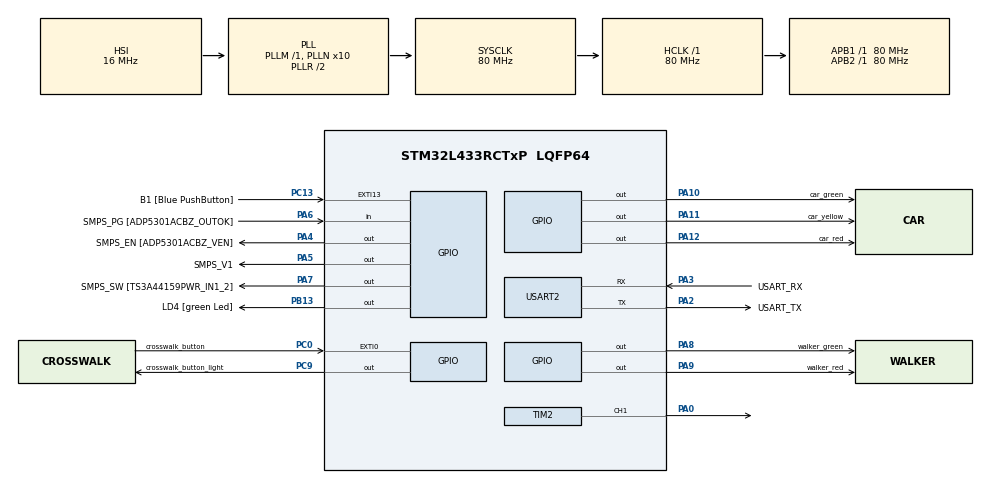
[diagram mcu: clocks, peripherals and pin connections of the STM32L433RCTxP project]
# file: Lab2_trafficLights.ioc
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Mcu.Family=STM32L4
Mcu.Name=STM32L433RCTxP
Mcu.Package=LQFP64
NVIC.EXTI0_IRQn=true\:0\:0\:false\:false\:true\:true\:true\:true
NVIC.EXTI15_10_IRQn=true\:0\:0\:false\:false\:true\:true\:true\:true
NVIC.PriorityGroup=NVIC_PRIORITYGROUP_4
PA0.Signal=S_TIM2_CH1
PA10.GPIO_Label=car_green
PA10.Signal=GPIO_Output
PA11.GPIO_Label=car_yellow
PA11.Signal=GPIO_Output
PA12.GPIO_Label=car_red
PA12.Signal=GPIO_Output
PA13\ (JTMS-SWDIO).GPIO_Label=TMS
PA13\ (JTMS-SWDIO).Mode=Serial_Wire
PA13\ (JTMS-SWDIO).Signal=SYS_JTMS-SWDIO
PA14\ (JTCK-SWCLK).GPIO_Label=TCK
PA14\ (JTCK-SWCLK).Mode=Serial_Wire
PA14\ (JTCK-SWCLK).Signal=SYS_JTCK-SWCLK
PA2.GPIO_Label=USART_TX
PA2.GPIO_Mode=GPIO_MODE_AF_PP
PA2.GPIO_PuPd=GPIO_NOPULL
PA2.GPIO_Speed=GPIO_SPEED_FREQ_VERY_HIGH
PA2.Mode=Asynchronous
PA2.Signal=USART2_TX
PA3.GPIO_Label=USART_RX
PA3.GPIO_Mode=GPIO_MODE_AF_PP
PA3.GPIO_PuPd=GPIO_NOPULL
PA3.GPIO_Speed=GPIO_SPEED_FREQ_VERY_HIGH
PA3.Mode=Asynchronous
PA3.Signal=USART2_RX
PA4.GPIO_Label=SMPS_EN [ADP5301ACBZ_VEN]
PA4.Signal=GPIO_Output
PA5.GPIO_Label=SMPS_V1
PA5.GPIO_ModeDefaultOutputPP=GPIO_MODE_OUTPUT_PP
PA5.GPIO_PuPd=GPIO_NOPULL
PA5.GPIO_Speed=GPIO_SPEED_FREQ_LOW
PA5.Signal=GPIO_Output
PA6.GPIO_Label=SMPS_PG [ADP5301ACBZ_OUTOK]
PA6.GPIO_PuPd=GPIO_PULLUP
PA6.Signal=GPIO_Input
PA7.GPIO_Label=SMPS_SW [TS3A44159PWR_IN1_2]
PA7.Signal=GPIO_Output
PA8.GPIO_Label=walker_green
PA8.Signal=GPIO_Output
PA9.GPIO_Label=walker_red
PA9.Signal=GPIO_Output
PB13.GPIO_Label=LD4 [green Led]
PB13.Signal=GPIO_Output
PB3\ (JTDO-TRACESWO).GPIO_Label=SWO
PB3\ (JTDO-TRACESWO).Signal=SYS_JTDO-SWO
PC0.GPIO_Label=crosswalk_button
PC0.GPIO_ModeDefaultEXTI=GPIO_MODE_IT_RISING
PC0.Signal=GPXTI0
PC13.GPIO_Label=B1 [Blue PushButton]
PC13.GPIO_ModeDefaultEXTI=GPIO_MODE_IT_FALLING
PC13.GPIO_PuPd=GPIO_NOPULL
PC13.Signal=GPXTI13
PC14-OSC32_IN\ (PC14).Mode=LSE-External-Oscillator
PC14-OSC32_IN\ (PC14).Signal=RCC_OSC32_IN
PC15-OSC32_OUT\ (PC15).Mode=LSE-External-Oscillator
PC15-OSC32_OUT\ (PC15).Signal=RCC_OSC32_OUT
PC9.GPIO_Label=crosswalk_button_light
PC9.Signal=GPIO_Output
PH0-OSC_IN\ (PH0).GPIO_Label=MCO
PH0-OSC_IN\ (PH0).Mode=HSE-External-Clock-Source
PH0-OSC_IN\ (PH0).Signal=RCC_OSC_IN
PH1-OSC_OUT\ (PH1).Signal=RCC_OSC_OUT
ProjectManager.HeapSize=0x200
ProjectManager.StackSize=0x400
ProjectManager.TargetToolchain=STM32CubeIDE
RCC.ADCFreq_Value=64000000
RCC.AHBFreq_Value=80000000
RCC.APB1Freq_Value=80000000
RCC.APB1TimFreq_Value=80000000
RCC.APB2Freq_Value=80000000
RCC.APB2TimFreq_Value=80000000
RCC.CortexFreq_Value=80000000
RCC.HCLKFreq_Value=80000000
RCC.HSE_VALUE=8000000
RCC.HSI48_VALUE=48000000
RCC.HSI_VALUE=16000000
RCC.MSI_VALUE=4000000
RCC.PLLN=10
RCC.PLLSourceVirtual=RCC_PLLSOURCE_HSI
RCC.PREFETCH_ENABLE=1
RCC.SYSCLKFreq_VALUE=80000000
RCC.SYSCLKSource=RCC_SYSCLKSOURCE_PLLCLK
RCC.USBFreq_Value=64000000
RCC.VCOOutputFreq_Value=160000000
SH.S_TIM2_CH1.0=TIM2_CH1,PWM Generation1 CH1
TIM2.Channel-PWM\ Generation1\ CH1=TIM_CHANNEL_1
USART2.VirtualMode-Asynchronous=VM_ASYNC
VP_TIM2_VS_ClockSourceINT.Mode=Internal
board=NUCLEO-L433RC-P

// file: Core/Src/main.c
/* USER CODE BEGIN Header */
/**
  ******************************************************************************
  * @file           : main.c
  * @brief          : Main program body
  ******************************************************************************
  * @attention
  *
  * Copyright (c) 2025 STMicroelectronics.
  * All rights reserved.
  *
  * This software is licensed under terms that can be found in the LICENSE file
  * in the root directory of this software component.
  * If no LICENSE file comes with this software, it is provided AS-IS.
  *
  ******************************************************************************
  */
/* USER CODE END Header */
#include "main.h"

/* USER CODE BEGIN Includes */
#include "abuzz.h"
/* USER CODE END Includes */

/* USER CODE BEGIN PD */
enum event{
	ev_none = 0,
	ev_button_push,
	ev_state_timeout,
	ev_error = -99
};

#define EVQ_SIZE 10
enum event evq[ EVQ_SIZE ];
int evq_count     = 0;
int evq_front_ix  = 0;
int evq_rear_ix   = 0;

enum state{
	s_init = 1,
	s_all_stop,
	s_humans_go,
	s_prepare_car,
	s_RY_car,
	s_car_go,
	s_pushed_delay,
	s_cars_stopping
};

/* USER CODE END PD */

TIM_HandleTypeDef htim2;

UART_HandleTypeDef huart2;

void SystemClock_Config(void);
static void MX_GPIO_Init(void);
static void MX_USART2_UART_Init(void);
static void MX_TIM2_Init(void);
/* USER CODE BEGIN PFP */
void abuzz_start();
void abuzz_stop();
void abuzz_p_long();
void abuzz_p_short();
/* USER CODE END PFP */

/* USER CODE BEGIN 0 */
uint32_t ticks_left_in_state = 0;

void push_button_light_on(){
	GPIOC->BSRR = GPIO_BSRR_BS9;
}

void push_button_light_off(){
	GPIOC->BRR = GPIO_BRR_BR9;
}

// Returns 1 if button is pressed, else 0 //
int is_button_pressed(){
	return (GPIOC->IDR & GPIO_PIN_0) != 0;
}

void reset_traffic_lights(){
	GPIOA->BRR = GPIO_BRR_BR12 | GPIO_BRR_BR11 |
				 GPIO_BRR_BR10 | GPIO_BRR_BR9  | GPIO_BRR_BR8;
}

void set_traffic_lights(enum state s){
	reset_traffic_lights();

	switch(s){
		case s_init:
			GPIOA->BSRR = GPIO_BSRR_BS12 | GPIO_BSRR_BS11 |
						  GPIO_BSRR_BS10 | GPIO_BSRR_BS9  | GPIO_BSRR_BS8;
			break;
		case s_all_stop:
			GPIOA->BSRR = GPIO_BSRR_BS12 | GPIO_BSRR_BS9;
			break;
		case s_humans_go:
			GPIOA->BSRR = GPIO_BSRR_BS12 | GPIO_BSRR_BS8;
			break;
		case s_prepare_car:
			GPIOA->BSRR = GPIO_BSRR_BS12 | GPIO_BSRR_BS9;
			break;
		case s_RY_car:
			GPIOA->BSRR = GPIO_BSRR_BS12 | GPIO_BSRR_BS11 | GPIO_BSRR_BS9;
			break;
		case s_car_go:
			GPIOA->BSRR = GPIO_BSRR_BS10 | GPIO_BSRR_BS9;
			break;
		case s_pushed_delay:
			GPIOA->BSRR = GPIO_BSRR_BS10 | GPIO_BSRR_BS9;
			break;
		case s_cars_stopping:
			GPIOA->BSRR = GPIO_BSRR_BS11 | GPIO_BSRR_BS9;
			break;
		default:
				//Something went wrong, both green//
			GPIOA->BSRR = GPIO_BSRR_BS10 | GPIO_BSRR_BS8;
	}
}

void state_handler(enum state* st, enum event* ev, uint32_t* ticks_left_in_state){

	switch(*st){

	case s_init:
		if(*ev == ev_button_push){
			*ev = ev_none;
			*st = s_all_stop;
			*ticks_left_in_state = 3000;
			push_button_light_on();
			set_traffic_lights(s_all_stop);
		}
		break;
	case s_all_stop:
			if(*ev == ev_state_timeout){
				*ev = ev_none;
				*st = s_humans_go;
				*ticks_left_in_state = 10000;
				abuzz_start();
				abuzz_p_short();
				set_traffic_lights(s_humans_go);
			}
			break;

	case s_humans_go:
		if(*ev == ev_state_timeout){
			*ev = ev_none;
			*st = s_prepare_car;
			*ticks_left_in_state = 2000;
			push_button_light_off();
			abuzz_stop();
			set_traffic_lights(s_prepare_car);
		}
		break;

	case s_prepare_car:
		if(*ev == ev_state_timeout){
			*ev = ev_none;
			*st = s_RY_car;
			*ticks_left_in_state = 2000;
			set_traffic_lights(s_RY_car);
		}
		break;

	case s_RY_car:
		if(*ev == ev_state_timeout){
			*ev = ev_none;
			*st = s_car_go;
			*ticks_left_in_state = 0;
			set_traffic_lights(s_car_go);
		}
		break;

	case s_car_go:
		if(*ev == ev_button_push){
			*ev = ev_none;
			*st = s_pushed_delay;
			*ticks_left_in_state = 2000;
			push_button_light_on();
			set_traffic_lights(s_pushed_delay);
		}
		break;

	case s_pushed_delay:
		if(*ev == ev_state_timeout){
			*ev = ev_none;
			*st = s_cars_stopping;
			*ticks_left_in_state = 2000;
			set_traffic_lights(s_cars_stopping);
		}
		break;

	case s_cars_stopping:
		if(*ev == ev_state_timeout){
			*ev = ev_none;
			*st = s_all_stop;
			*ticks_left_in_state = 3000;
			set_traffic_lights(s_all_stop);
		}
		break;

	default :
		break;
	}
}

void evq_init(){
	for(int i = 0; i<10; ++i)
		evq[i] = ev_error;
}

void evq_push_back(enum event ev){
	evq[evq_rear_ix] = ev;

	evq_rear_ix = (evq_rear_ix + 1) % EVQ_SIZE;
	if(evq_count < EVQ_SIZE)
		++evq_count;
}

enum event evq_pop_front(){
	if(evq_count <= 0)
		return ev_none;

	enum event temp = evq[evq_front_ix];
	evq_front_ix = (evq_front_ix + 1) % EVQ_SIZE;
	--evq_count;
	return temp;
}

int systick_count = 0;
void my_systick_handler(){

	systick_count++;
	if(systick_count == 1000){
		HAL_GPIO_TogglePin (LD4_GPIO_Port, LD4_Pin);
		systick_count = 0;
	}
	if(ticks_left_in_state > 0){
		--ticks_left_in_state;
		if(ticks_left_in_state == 0)
			evq_push_back(ev_state_timeout);
	}
}

/* USER CODE END 0 */

int main(void)
{

  /* MCU Configuration--------------------------------------------------------*/

  /* Reset of all peripherals, Initializes the Flash interface and the Systick. */
  HAL_Init();

  /* Configure the system clock */
  SystemClock_Config();

  /* Initialize all configured peripherals */
  MX_GPIO_Init();
  MX_USART2_UART_Init();
  MX_TIM2_Init();
  /* USER CODE BEGIN 2 */
  HAL_TIM_PWM_Start(&htim2,TIM_CHANNEL_1);
  evq_init();

  enum state st = s_init;
  enum event ev = ev_none;
  set_traffic_lights(st);
#if 0

  int last_pressed_state = 0;
  int pressed = 0;

  uint32_t ticks_left_in_state = 0;
  uint32_t curr_tick = 0;
  uint32_t last_tick = 0;*/
#endif
  /* USER CODE END 2 */

  /* Infinite loop */
  /* USER CODE BEGIN WHILE */

  while (1){

#if 0
	  ev = ev_none;
	  pressed = is_button_pressed();

	  if(pressed && !last_pressed_state && (st == s_car_go || st == s_init)){
		  ev = ev_button_push;
	  }

	  curr_tick = HAL_GetTick();
	  if(curr_tick != last_tick && curr_tick > last_tick)
		  ticks_left_in_state -= (curr_tick-last_tick);

	  if((ticks_left_in_state == 0 && last_tick > 0) && (st != s_car_go || st != s_init)){
		  ev = ev_state_timeout;
	  }
	  last_tick = curr_tick;
	  last_pressed_state = pressed;
#else
	  ev = evq_pop_front();
	  state_handler(&st,&ev,&ticks_left_in_state);

#endif
    /* USER CODE END WHILE */

  }
}

void SystemClock_Config(void)
{
  RCC_OscInitTypeDef RCC_OscInitStruct = {0};
  RCC_ClkInitTypeDef RCC_ClkInitStruct = {0};

  /** Configure the main internal regulator output voltage
  */
  if (HAL_PWREx_ControlVoltageScaling(PWR_REGULATOR_VOLTAGE_SCALE1) != HAL_OK)
  {
    Error_Handler();
  }

  /** Initializes the RCC Oscillators according to the specified parameters
  * in the RCC_OscInitTypeDef structure.
  */
  RCC_OscInitStruct.OscillatorType = RCC_OSCILLATORTYPE_HSI;
  RCC_OscInitStruct.HSIState = RCC_HSI_ON;
  RCC_OscInitStruct.HSICalibrationValue = RCC_HSICALIBRATION_DEFAULT;
  RCC_OscInitStruct.PLL.PLLState = RCC_PLL_ON;
  RCC_OscInitStruct.PLL.PLLSource = RCC_PLLSOURCE_HSI;
  RCC_OscInitStruct.PLL.PLLM = 1;
  RCC_OscInitStruct.PLL.PLLN = 10;
  RCC_OscInitStruct.PLL.PLLP = RCC_PLLP_DIV7;
  RCC_OscInitStruct.PLL.PLLQ = RCC_PLLQ_DIV2;
  RCC_OscInitStruct.PLL.PLLR = RCC_PLLR_DIV2;
  if (HAL_RCC_OscConfig(&RCC_OscInitStruct) != HAL_OK)
  {
    Error_Handler();
  }

  /** Initializes the CPU, AHB and APB buses clocks
  */
  RCC_ClkInitStruct.ClockType = RCC_CLOCKTYPE_HCLK|RCC_CLOCKTYPE_SYSCLK
                              |RCC_CLOCKTYPE_PCLK1|RCC_CLOCKTYPE_PCLK2;
  RCC_ClkInitStruct.SYSCLKSource = RCC_SYSCLKSOURCE_PLLCLK;
  RCC_ClkInitStruct.AHBCLKDivider = RCC_SYSCLK_DIV1;
  RCC_ClkInitStruct.APB1CLKDivider = RCC_HCLK_DIV1;
  RCC_ClkInitStruct.APB2CLKDivider = RCC_HCLK_DIV1;

  if (HAL_RCC_ClockConfig(&RCC_ClkInitStruct, FLASH_LATENCY_4) != HAL_OK)
  {
    Error_Handler();
  }
}

static void MX_TIM2_Init(void)
{

  TIM_ClockConfigTypeDef sClockSourceConfig = {0};
  TIM_MasterConfigTypeDef sMasterConfig = {0};
  TIM_OC_InitTypeDef sConfigOC = {0};

  htim2.Instance = TIM2;
  htim2.Init.Prescaler = 0;
  htim2.Init.CounterMode = TIM_COUNTERMODE_UP;
  htim2.Init.Period = 4294967295;
  htim2.Init.ClockDivision = TIM_CLOCKDIVISION_DIV1;
  htim2.Init.AutoReloadPreload = TIM_AUTORELOAD_PRELOAD_DISABLE;
  if (HAL_TIM_Base_Init(&htim2) != HAL_OK)
  {
    Error_Handler();
  }
  sClockSourceConfig.ClockSource = TIM_CLOCKSOURCE_INTERNAL;
  if (HAL_TIM_ConfigClockSource(&htim2, &sClockSourceConfig) != HAL_OK)
  {
    Error_Handler();
  }
  if (HAL_TIM_PWM_Init(&htim2) != HAL_OK)
  {
    Error_Handler();
  }
  sMasterConfig.MasterOutputTrigger = TIM_TRGO_RESET;
  sMasterConfig.MasterSlaveMode = TIM_MASTERSLAVEMODE_DISABLE;
  if (HAL_TIMEx_MasterConfigSynchronization(&htim2, &sMasterConfig) != HAL_OK)
  {
    Error_Handler();
  }
  sConfigOC.OCMode = TIM_OCMODE_PWM1;
  sConfigOC.Pulse = 0;
  sConfigOC.OCPolarity = TIM_OCPOLARITY_HIGH;
  sConfigOC.OCFastMode = TIM_OCFAST_DISABLE;
  if (HAL_TIM_PWM_ConfigChannel(&htim2, &sConfigOC, TIM_CHANNEL_1) != HAL_OK)
  {
    Error_Handler();
  }
  HAL_TIM_MspPostInit(&htim2);

}

static void MX_USART2_UART_Init(void)
{

  huart2.Instance = USART2;
  huart2.Init.BaudRate = 115200;
  huart2.Init.WordLength = UART_WORDLENGTH_8B;
  huart2.Init.StopBits = UART_STOPBITS_1;
  huart2.Init.Parity = UART_PARITY_NONE;
  huart2.Init.Mode = UART_MODE_TX_RX;
  huart2.Init.HwFlowCtl = UART_HWCONTROL_NONE;
  huart2.Init.OverSampling = UART_OVERSAMPLING_16;
  huart2.Init.OneBitSampling = UART_ONE_BIT_SAMPLE_DISABLE;
  huart2.AdvancedInit.AdvFeatureInit = UART_ADVFEATURE_NO_INIT;
  if (HAL_UART_Init(&huart2) != HAL_OK)
  {
    Error_Handler();
  }

}

static void MX_GPIO_Init(void)
{
  GPIO_InitTypeDef GPIO_InitStruct = {0};

  /* GPIO Ports Clock Enable */
  __HAL_RCC_GPIOC_CLK_ENABLE();
  __HAL_RCC_GPIOH_CLK_ENABLE();
  __HAL_RCC_GPIOA_CLK_ENABLE();
  __HAL_RCC_GPIOB_CLK_ENABLE();

  /*Configure GPIO pin Output Level */
  HAL_GPIO_WritePin(GPIOA, SMPS_EN_Pin|SMPS_V1_Pin|SMPS_SW_Pin|walker_green_Pin
                          |walker_red_Pin|car_green_Pin|car_yellow_Pin|car_red_Pin, GPIO_PIN_RESET);

  /*Configure GPIO pin Output Level */
  HAL_GPIO_WritePin(LD4_GPIO_Port, LD4_Pin, GPIO_PIN_RESET);

  /*Configure GPIO pin Output Level */
  HAL_GPIO_WritePin(crosswalk_button_light_GPIO_Port, crosswalk_button_light_Pin, GPIO_PIN_RESET);

  /*Configure GPIO pin : B1_Pin */
  GPIO_InitStruct.Pin = B1_Pin;
  GPIO_InitStruct.Mode = GPIO_MODE_IT_FALLING;
  GPIO_InitStruct.Pull = GPIO_NOPULL;
  HAL_GPIO_Init(B1_GPIO_Port, &GPIO_InitStruct);

  /*Configure GPIO pin : crosswalk_button_Pin */
  GPIO_InitStruct.Pin = crosswalk_button_Pin;
  GPIO_InitStruct.Mode = GPIO_MODE_IT_RISING;
  GPIO_InitStruct.Pull = GPIO_NOPULL;
  HAL_GPIO_Init(crosswalk_button_GPIO_Port, &GPIO_InitStruct);

  /*Configure GPIO pins : SMPS_EN_Pin SMPS_V1_Pin SMPS_SW_Pin walker_green_Pin
                           walker_red_Pin car_green_Pin car_yellow_Pin car_red_Pin */
  GPIO_InitStruct.Pin = SMPS_EN_Pin|SMPS_V1_Pin|SMPS_SW_Pin|walker_green_Pin
                          |walker_red_Pin|car_green_Pin|car_yellow_Pin|car_red_Pin;
  GPIO_InitStruct.Mode = GPIO_MODE_OUTPUT_PP;
  GPIO_InitStruct.Pull = GPIO_NOPULL;
  GPIO_InitStruct.Speed = GPIO_SPEED_FREQ_LOW;
  HAL_GPIO_Init(GPIOA, &GPIO_InitStruct);

  /*Configure GPIO pin : SMPS_PG_Pin */
  GPIO_InitStruct.Pin = SMPS_PG_Pin;
  GPIO_InitStruct.Mode = GPIO_MODE_INPUT;
  GPIO_InitStruct.Pull = GPIO_PULLUP;
  HAL_GPIO_Init(SMPS_PG_GPIO_Port, &GPIO_InitStruct);

  /*Configure GPIO pin : LD4_Pin */
  GPIO_InitStruct.Pin = LD4_Pin;
  GPIO_InitStruct.Mode = GPIO_MODE_OUTPUT_PP;
  GPIO_InitStruct.Pull = GPIO_NOPULL;
  GPIO_InitStruct.Speed = GPIO_SPEED_FREQ_LOW;
  HAL_GPIO_Init(LD4_GPIO_Port, &GPIO_InitStruct);

  /*Configure GPIO pin : crosswalk_button_light_Pin */
  GPIO_InitStruct.Pin = crosswalk_button_light_Pin;
  GPIO_InitStruct.Mode = GPIO_MODE_OUTPUT_PP;
  GPIO_InitStruct.Pull = GPIO_NOPULL;
  GPIO_InitStruct.Speed = GPIO_SPEED_FREQ_LOW;
  HAL_GPIO_Init(crosswalk_button_light_GPIO_Port, &GPIO_InitStruct);

  /* EXTI interrupt init*/
  HAL_NVIC_SetPriority(EXTI0_IRQn, 0, 0);
  HAL_NVIC_EnableIRQ(EXTI0_IRQn);

  HAL_NVIC_SetPriority(EXTI15_10_IRQn, 0, 0);
  HAL_NVIC_EnableIRQ(EXTI15_10_IRQn);

}

/* USER CODE BEGIN 4 */
void HAL_GPIO_EXTI_Callback(uint16_t GPIO_Pin){

	if(GPIO_Pin == crosswalk_button_Pin){
		evq_push_back(ev_button_push);
	}
}
/* USER CODE END 4 */

void Error_Handler(void)
{
  __disable_irq();
  while (1)
  {
  }
}
